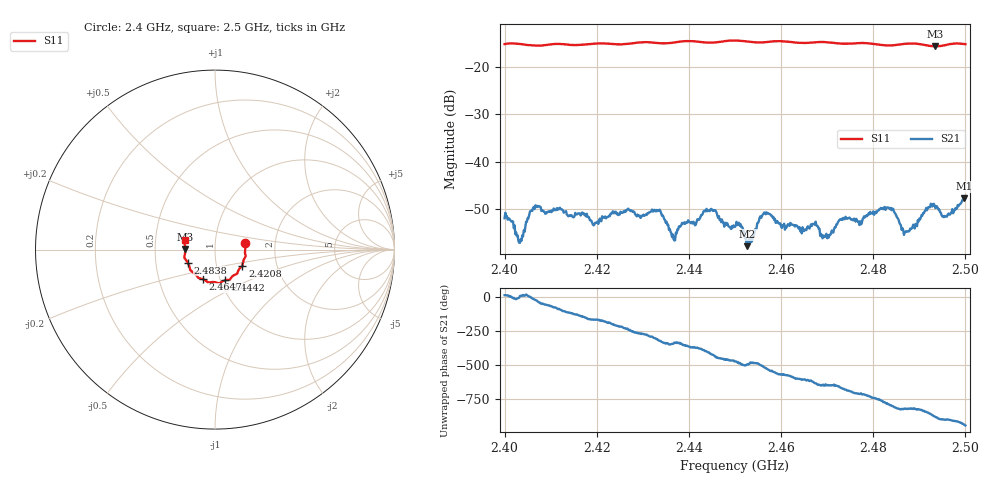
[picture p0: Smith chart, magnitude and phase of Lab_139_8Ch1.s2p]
# Hz S RI R 50
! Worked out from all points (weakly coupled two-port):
!   601 points, 2.4 GHz to 2.5 GHz, reference 50 ohm
!   highest |S21| = -47.65 dB at 2.4997 GHz (marker M1); lowest = -57.7 dB at 2.4527 GHz (marker M2)
!   lowest |S11| = -15.7 dB at 2.4935 GHz (marker M3), VSWR 1.39, Z = 35.9 + j0.13 ohm
!   |S11| at or under -10 dB: start of sweep to end of sweep
!   S12 and S22 are empty: the file has one direction only
!   S11 on the Smith chart (normalised r, x): 2.4 GHz: 1.40, +0.11; 2.4208 GHz: 1.33, -0.25; 2.4442 GHz: 1.06, -0.37; 2.4647 GHz: 0.83, -0.28; 2.4838 GHz: 0.73, -0.11; 2.5 GHz: 0.71, +0.08
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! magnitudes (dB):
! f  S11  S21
! 2.4 GHz  -15.2  -51.8
! 2.4035 GHz  -15.2  -56.3
! 2.4067 GHz  -15.5  -49.1
! 2.4167 GHz  -15.3  -50.9
! 2.4208 GHz  -15.1  -52.4
! 2.4333 GHz  -15.0  -50.2
! 2.4368 GHz  -14.9  -56.5
! 2.4442 GHz  -14.9  -50.3
! 2.45 GHz  -14.4  -53.7
! 2.4527 GHz  -14.6  -57.7
! 2.4567 GHz  -14.8  -51.0
! 2.4647 GHz  -15.0  -53.7
! 2.4667 GHz  -14.9  -53.5
! 2.4698 GHz  -14.8  -55.1
! 2.473 GHz  -15.1  -52.2
! 2.4833 GHz  -15.5  -49.6
! 2.4838 GHz  -15.5  -49.7
! 2.4872 GHz  -15.1  -54.7
! 2.4935 GHz  -15.7  -49.7
! 2.4955 GHz  -15.4  -51.4
! 2.4997 GHz  -15.2  -47.6
! 2.5 GHz  -15.2  -47.7
